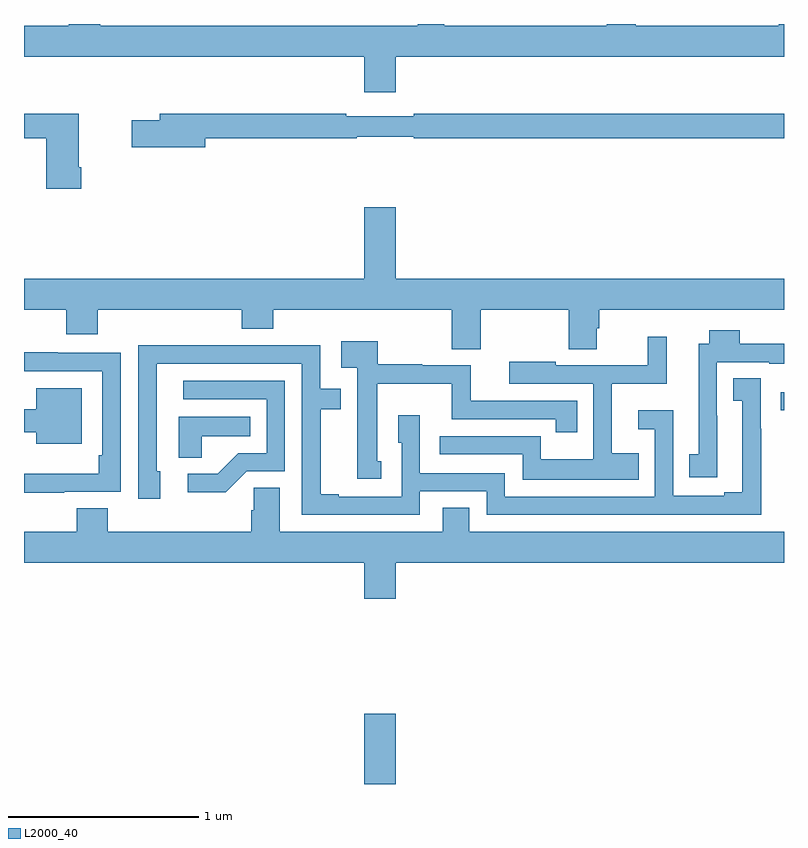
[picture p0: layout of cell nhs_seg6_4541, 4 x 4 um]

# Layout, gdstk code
import gdstk
lib = gdstk.Library(unit=1e-6, precision=1e-09)
def R(c, l, rs):  # rectangles x0, y0, x1, y1
    for r in rs: c.add(gdstk.rectangle(r[:2], r[2:], *l))
def P(c, l, *ps):  # polygons
    for p in ps: c.add(gdstk.Polygon(p, *l))
L2000_40 = (2000, 40)

nhs_seg6_4541 = lib.new_cell('nhs_seg6_4541')
R(nhs_seg6_4541, L2000_40, [(380.792,951.5,380.956,951.871), (382.983,953.466,383,953.563)])
P(nhs_seg6_4541, L2000_40, [(380.956,955.328),(383,955.328),(383,955.5),(382.973,955.5),(382.973,955.492),(382.22,955.492),(382.22,955.5),(382.067,955.5),(382.067,955.492),(381.211,955.492),(381.211,955.5),(381.072,955.5),(381.072,955.492),(379.4,955.492),(379.4,955.5),(379.235,955.5),(379.235,955.492),(379,955.492),(379,955.328),(380.792,955.328),(380.792,955.14),(380.956,955.14)],
  [(379.954,954.898),(380.75,954.898),(380.75,954.906),(381.05,954.906),(381.05,954.898),(383,954.898),(383,955.027),(381.052,955.027),(381.052,955.014),(380.696,955.014),(380.696,955.027),(379.715,955.027),(379.715,954.993),(379.566,954.993),(379.566,954.851),(379.954,954.851)],
  [(379.301,954.745),(379.288,954.745),(379.288,955.027),(379,955.027),(379,954.898),(379.118,954.898),(379.118,954.633),(379.301,954.633)],
  [(381.405,953.996),(381.868,953.996),(381.868,953.788),(382.015,953.788),(382.015,953.898),(382.028,953.898),(382.028,953.996),(383,953.996),(383,954.16),(380.956,954.16),(380.956,954.535),(380.792,954.535),(380.792,954.16),(379,954.16),(379,953.996),(379.223,953.996),(379.223,953.868),(379.388,953.868),(379.388,953.996),(380.147,953.996),(380.147,953.897),(380.312,953.897),(380.312,953.996),(381.25,953.996),(381.25,953.788),(381.405,953.788)],
  [(382.648,953.438),(382.647,953.438),(382.647,953.721),(382.923,953.721),(382.923,953.711),(383,953.711),(383,953.818),(382.767,953.818),(382.767,953.887),(382.607,953.887),(382.607,953.817),(382.55,953.817),(382.55,953.235),(382.501,953.235),(382.501,953.115),(382.648,953.115)],
  [(382.235,953.242),(382.093,953.242),(382.093,953.606),(382.384,953.606),(382.384,953.854),(382.282,953.854),(382.282,953.703),(381.799,953.703),(381.799,953.722),(381.555,953.722),(381.555,953.607),(381.996,953.607),(381.996,953.209),(381.72,953.209),(381.72,953.33),(381.617,953.33),(381.617,953.331),(381.189,953.331),(381.189,953.235),(381.624,953.235),(381.624,953.102),(382.235,953.102)],
  [(380.881,953.199),(380.86,953.199),(380.86,953.606),(381.251,953.606),(381.251,953.421),(381.798,953.421),(381.798,953.352),(381.911,953.352),(381.911,953.517),(381.35,953.517),(381.35,953.703),(381.096,953.703),(381.096,953.708),(380.863,953.708),(380.863,953.83),(380.67,953.83),(380.67,953.69),(380.754,953.69),(380.754,953.594),(380.753,953.594),(380.753,953.106),(380.881,953.106)],
  [(382.881,953.369),(382.878,953.369),(382.878,953.636),(382.732,953.636),(382.732,953.518),(382.781,953.518),(382.781,953.035),(382.685,953.035),(382.685,953.017),(382.416,953.017),(382.416,953.467),(382.233,953.467),(382.233,953.366),(382.32,953.366),(382.32,953.013),(381.531,953.013),(381.531,953.136),(381.084,953.136),(381.084,953.44),(380.969,953.44),(380.969,953.295),(380.988,953.295),(380.988,953.013),(380.656,953.013),(380.656,953.026),(380.561,953.026),(380.561,953.472),(380.668,953.472),(380.668,953.58),(380.559,953.58),(380.559,953.808),(380.063,953.808),(380.063,953.81),(379.602,953.81),(379.602,953.001),(379.717,953.001),(379.717,953.145),(379.698,953.145),(379.698,953.712),(380.463,953.712),(380.463,952.917),(381.084,952.917),(381.084,953.04),(381.435,953.04),(381.435,952.917),(382.423,952.917),(382.423,952.916),(382.881,952.916)],
  [(379.213,953.037),(379.509,953.037),(379.509,953.769),(379.177,953.769),(379.177,953.773),(379,953.773),(379,953.673),(379.413,953.673),(379.413,953.23),(379.393,953.23),(379.393,953.134),(379,953.134),(379,953.033),(379.213,953.033)],
  [(380.172,953.145),(380.373,953.145),(380.373,953.622),(379.839,953.622),(379.839,953.526),(380.277,953.526),(380.277,953.241),(380.127,953.241),(380.019,953.133),(379.863,953.133),(379.863,953.036),(380.062,953.036)],
  [(379.303,953.584),(379.064,953.584),(379.064,953.473),(379,953.473),(379,953.351),(379.064,953.351),(379.064,953.291),(379.303,953.291)],
  [(379.936,953.33),(380.192,953.33),(380.192,953.434),(379.814,953.434),(379.814,953.218),(379.936,953.218)],
  [(380.956,952.664),(383,952.664),(383,952.828),(381.343,952.828),(381.343,952.955),(381.203,952.955),(381.203,952.828),(380.347,952.828),(380.347,953.06),(380.209,953.06),(380.209,952.94),(380.195,952.94),(380.195,952.828),(379.442,952.828),(379.442,952.952),(379.277,952.952),(379.277,952.828),(379,952.828),(379,952.664),(380.792,952.664),(380.792,952.476),(380.956,952.476)])

lib.write_gds('nhs_seg6_4541.gds')
